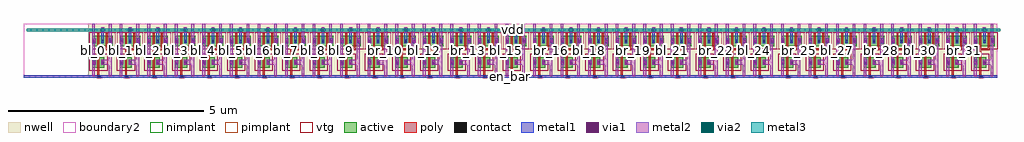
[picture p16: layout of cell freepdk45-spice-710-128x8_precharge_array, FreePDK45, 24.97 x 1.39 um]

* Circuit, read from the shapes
.subckt freepdk45-spice-710-128x8_precharge_array bl_0 bl_1 bl_10 bl_11 bl_12 bl_13 bl_14 bl_15 bl_16 bl_17 bl_18 bl_19 bl_2 bl_20 bl_21 bl_22 bl_23 bl_24 bl_25 bl_26 bl_27 bl_28 bl_29 bl_3 bl_30 bl_31 bl_32 bl_4 bl_5 bl_6 bl_7 bl_8 bl_9 br_0 br_1 br_10 br_11 br_12 br_13 br_14 br_15 br_16 br_17 br_18 br_19 br_2 br_20 br_21 br_22 br_23 br_24 br_25 br_26 br_27 br_28 br_29 br_3 br_30 br_31 br_32 br_4 br_5 br_6 br_7 br_8 br_9 en_bar vdd
M1 br_0 en_bar bl_0 vdd pfet w=0.27u l=0.05u
M2 vdd en_bar bl_0 vdd pfet w=0.27u l=0.05u
M3 br_0 en_bar vdd vdd pfet w=0.27u l=0.05u
M4 br_1 en_bar bl_1 vdd pfet w=0.27u l=0.05u
M5 vdd en_bar bl_1 vdd pfet w=0.27u l=0.05u
M6 br_1 en_bar vdd vdd pfet w=0.27u l=0.05u
M7 br_2 en_bar bl_2 vdd pfet w=0.27u l=0.05u
M8 vdd en_bar bl_2 vdd pfet w=0.27u l=0.05u
M9 br_2 en_bar vdd vdd pfet w=0.27u l=0.05u
M10 br_3 en_bar bl_3 vdd pfet w=0.27u l=0.05u
M11 vdd en_bar bl_3 vdd pfet w=0.27u l=0.05u
M12 br_3 en_bar vdd vdd pfet w=0.27u l=0.05u
M13 br_4 en_bar bl_4 vdd pfet w=0.27u l=0.05u
M14 vdd en_bar bl_4 vdd pfet w=0.27u l=0.05u
M15 br_4 en_bar vdd vdd pfet w=0.27u l=0.05u
M16 br_5 en_bar bl_5 vdd pfet w=0.27u l=0.05u
M17 vdd en_bar bl_5 vdd pfet w=0.27u l=0.05u
M18 br_5 en_bar vdd vdd pfet w=0.27u l=0.05u
M19 br_6 en_bar bl_6 vdd pfet w=0.27u l=0.05u
M20 vdd en_bar bl_6 vdd pfet w=0.27u l=0.05u
M21 br_6 en_bar vdd vdd pfet w=0.27u l=0.05u
M22 br_7 en_bar bl_7 vdd pfet w=0.27u l=0.05u
M23 vdd en_bar bl_7 vdd pfet w=0.27u l=0.05u
M24 br_7 en_bar vdd vdd pfet w=0.27u l=0.05u
M25 br_8 en_bar bl_8 vdd pfet w=0.27u l=0.05u
M26 vdd en_bar bl_8 vdd pfet w=0.27u l=0.05u
M27 br_8 en_bar vdd vdd pfet w=0.27u l=0.05u
M28 br_9 en_bar bl_9 vdd pfet w=0.27u l=0.05u
M29 vdd en_bar bl_9 vdd pfet w=0.27u l=0.05u
M30 br_9 en_bar vdd vdd pfet w=0.27u l=0.05u
M31 br_10 en_bar bl_10 vdd pfet w=0.27u l=0.05u
M32 vdd en_bar bl_10 vdd pfet w=0.27u l=0.05u
M33 br_10 en_bar vdd vdd pfet w=0.27u l=0.05u
M34 br_11 en_bar bl_11 vdd pfet w=0.27u l=0.05u
M35 vdd en_bar bl_11 vdd pfet w=0.27u l=0.05u
M36 br_11 en_bar vdd vdd pfet w=0.27u l=0.05u
M37 br_12 en_bar bl_12 vdd pfet w=0.27u l=0.05u
M38 vdd en_bar bl_12 vdd pfet w=0.27u l=0.05u
M39 br_12 en_bar vdd vdd pfet w=0.27u l=0.05u
M40 br_13 en_bar bl_13 vdd pfet w=0.27u l=0.05u
M41 vdd en_bar bl_13 vdd pfet w=0.27u l=0.05u
M42 br_13 en_bar vdd vdd pfet w=0.27u l=0.05u
M43 br_14 en_bar bl_14 vdd pfet w=0.27u l=0.05u
M44 vdd en_bar bl_14 vdd pfet w=0.27u l=0.05u
M45 br_14 en_bar vdd vdd pfet w=0.27u l=0.05u
M46 br_15 en_bar bl_15 vdd pfet w=0.27u l=0.05u
M47 vdd en_bar bl_15 vdd pfet w=0.27u l=0.05u
M48 br_15 en_bar vdd vdd pfet w=0.27u l=0.05u
M49 br_16 en_bar bl_16 vdd pfet w=0.27u l=0.05u
M50 vdd en_bar bl_16 vdd pfet w=0.27u l=0.05u
M51 br_16 en_bar vdd vdd pfet w=0.27u l=0.05u
M52 br_17 en_bar bl_17 vdd pfet w=0.27u l=0.05u
M53 vdd en_bar bl_17 vdd pfet w=0.27u l=0.05u
M54 br_17 en_bar vdd vdd pfet w=0.27u l=0.05u
M55 br_18 en_bar bl_18 vdd pfet w=0.27u l=0.05u
M56 vdd en_bar bl_18 vdd pfet w=0.27u l=0.05u
M57 br_18 en_bar vdd vdd pfet w=0.27u l=0.05u
M58 br_19 en_bar bl_19 vdd pfet w=0.27u l=0.05u
M59 vdd en_bar bl_19 vdd pfet w=0.27u l=0.05u
M60 br_19 en_bar vdd vdd pfet w=0.27u l=0.05u
M61 br_20 en_bar bl_20 vdd pfet w=0.27u l=0.05u
M62 vdd en_bar bl_20 vdd pfet w=0.27u l=0.05u
M63 br_20 en_bar vdd vdd pfet w=0.27u l=0.05u
M64 br_21 en_bar bl_21 vdd pfet w=0.27u l=0.05u
M65 vdd en_bar bl_21 vdd pfet w=0.27u l=0.05u
M66 br_21 en_bar vdd vdd pfet w=0.27u l=0.05u
M67 br_22 en_bar bl_22 vdd pfet w=0.27u l=0.05u
M68 vdd en_bar bl_22 vdd pfet w=0.27u l=0.05u
M69 br_22 en_bar vdd vdd pfet w=0.27u l=0.05u
M70 br_23 en_bar bl_23 vdd pfet w=0.27u l=0.05u
M71 vdd en_bar bl_23 vdd pfet w=0.27u l=0.05u
M72 br_23 en_bar vdd vdd pfet w=0.27u l=0.05u
M73 br_24 en_bar bl_24 vdd pfet w=0.27u l=0.05u
M74 vdd en_bar bl_24 vdd pfet w=0.27u l=0.05u
M75 br_24 en_bar vdd vdd pfet w=0.27u l=0.05u
M76 br_25 en_bar bl_25 vdd pfet w=0.27u l=0.05u
M77 vdd en_bar bl_25 vdd pfet w=0.27u l=0.05u
M78 br_25 en_bar vdd vdd pfet w=0.27u l=0.05u
M79 br_26 en_bar bl_26 vdd pfet w=0.27u l=0.05u
M80 vdd en_bar bl_26 vdd pfet w=0.27u l=0.05u
M81 br_26 en_bar vdd vdd pfet w=0.27u l=0.05u
M82 br_27 en_bar bl_27 vdd pfet w=0.27u l=0.05u
M83 vdd en_bar bl_27 vdd pfet w=0.27u l=0.05u
M84 br_27 en_bar vdd vdd pfet w=0.27u l=0.05u
M85 br_28 en_bar bl_28 vdd pfet w=0.27u l=0.05u
M86 vdd en_bar bl_28 vdd pfet w=0.27u l=0.05u
M87 br_28 en_bar vdd vdd pfet w=0.27u l=0.05u
M88 br_29 en_bar bl_29 vdd pfet w=0.27u l=0.05u
M89 vdd en_bar bl_29 vdd pfet w=0.27u l=0.05u
M90 br_29 en_bar vdd vdd pfet w=0.27u l=0.05u
M91 br_30 en_bar bl_30 vdd pfet w=0.27u l=0.05u
M92 vdd en_bar bl_30 vdd pfet w=0.27u l=0.05u
M93 br_30 en_bar vdd vdd pfet w=0.27u l=0.05u
M94 br_31 en_bar bl_31 vdd pfet w=0.27u l=0.05u
M95 vdd en_bar bl_31 vdd pfet w=0.27u l=0.05u
M96 br_31 en_bar vdd vdd pfet w=0.27u l=0.05u
M97 br_32 en_bar bl_32 vdd pfet w=0.27u l=0.05u
M98 vdd en_bar bl_32 vdd pfet w=0.27u l=0.05u
M99 br_32 en_bar vdd vdd pfet w=0.27u l=0.05u
.ends

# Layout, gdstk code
import gdstk
lib = gdstk.Library(unit=1e-6, precision=5e-10)
def R(c, l, rs):  # rectangles x0, y0, x1, y1
    for r in rs: c.add(gdstk.rectangle(r[:2], r[2:], *l))
active = (1, 0)
nwell = (3, 0)
nimplant = (4, 0)
pimplant = (5, 0)
vtg = (6, 0)
poly = (9, 0)
contact = (10, 0)
metal1 = (11, 0)
via1 = (12, 0)
metal2 = (13, 0)
via2 = (14, 0)
metal3 = (15, 0)
boundary2 = (239, 0)

freepdk45_spice_710_128x = lib.new_cell('freepdk45-spice-710-128x8_contact_11')
R(freepdk45_spice_710_128x, active, [(0,0.0225,0.09,0.1125)])
R(freepdk45_spice_710_128x, nwell, [(-0.055,-0.0325,0.145,0.1675)])
R(freepdk45_spice_710_128x, pimplant, [(0,0.0225,0.09,0.1125)])
R(freepdk45_spice_710_128x, contact, [(0.0125,0.035,0.0775,0.1)])
R(freepdk45_spice_710_128x, metal1, [(0.0125,0,0.0775,0.135)])
R(freepdk45_spice_710_128x, boundary2, [(-0.055,-0.0325,0.145,0.1675)])

c_freepdk45_spice_710_128x = lib.new_cell('freepdk45-spice-710-128x8_pmos_m1_w0_270_sm1_dm1')
R(c_freepdk45_spice_710_128x, active, [(0,0,0.305,0.27)])
R(c_freepdk45_spice_710_128x, nwell, [(-0.08,-0.08,0.385,0.35)])
R(c_freepdk45_spice_710_128x, pimplant, [(0,0,0.305,0.27)])
R(c_freepdk45_spice_710_128x, vtg, [(-0.08,-0.08,0.385,0.35)])
R(c_freepdk45_spice_710_128x, poly, [(0.1275,-0.055,0.1775,0.325), (0.1275,-0.055,0.1775,0.325)])
R(c_freepdk45_spice_710_128x, metal1, [(0.0125,0.0675,0.0775,0.2025), (0.2275,0.0675,0.2925,0.2025)])
R(c_freepdk45_spice_710_128x, boundary2, [(-0.08,-0.08,0.385,0.35)])
c_freepdk45_spice_710_128x.add(gdstk.Reference(freepdk45_spice_710_128x, (0,0.0675)))
c_freepdk45_spice_710_128x.add(gdstk.Reference(freepdk45_spice_710_128x, (0.215,0.0675)))
c_freepdk45_spice_710_128x.add(gdstk.Label('G', (0.1525,0.135), layer=9, texttype=0))
c_freepdk45_spice_710_128x.add(gdstk.Label('S', (0.045,0.135), layer=11, texttype=0))
c_freepdk45_spice_710_128x.add(gdstk.Label('D', (0.26,0.135), layer=11, texttype=0))

c_freepdk45_spice_710_128x_ = lib.new_cell('freepdk45-spice-710-128x8_contact_14')
R(c_freepdk45_spice_710_128x_, poly, [(0.03,0,0.105,0.075)])
R(c_freepdk45_spice_710_128x_, contact, [(0.035,0.005,0.1,0.07)])
R(c_freepdk45_spice_710_128x_, metal1, [(0,0.005,0.135,0.07)])
R(c_freepdk45_spice_710_128x_, boundary2, [(0,0,0.135,0.075)])

c_freepdk45_spice_710_128x__ = lib.new_cell('freepdk45-spice-710-128x8_contact_22')
R(c_freepdk45_spice_710_128x__, active, [(0.0225,0,0.1125,0.09)])
R(c_freepdk45_spice_710_128x__, nwell, [(-0.0325,-0.055,0.1675,0.145)])
R(c_freepdk45_spice_710_128x__, nimplant, [(0.0225,0,0.1125,0.09)])
R(c_freepdk45_spice_710_128x__, contact, [(0.035,0.0125,0.1,0.0775)])
R(c_freepdk45_spice_710_128x__, metal1, [(0,0.0125,0.135,0.0775)])
R(c_freepdk45_spice_710_128x__, boundary2, [(-0.0325,-0.055,0.1675,0.145)])

c_freepdk45_spice_710_128x___ = lib.new_cell('freepdk45-spice-710-128x8_contact_17')
R(c_freepdk45_spice_710_128x___, metal1, [(0,0.035,0.135,0.1)])
R(c_freepdk45_spice_710_128x___, via1, [(0.035,0.035,0.1,0.1)])
R(c_freepdk45_spice_710_128x___, metal2, [(0.0325,0,0.1025,0.135)])
R(c_freepdk45_spice_710_128x___, boundary2, [(0,0,0.135,0.135)])

c_freepdk45_spice_710_128x____ = lib.new_cell('freepdk45-spice-710-128x8_contact_23')
R(c_freepdk45_spice_710_128x____, metal1, [(0.0025,0,0.0675,0.135)])
R(c_freepdk45_spice_710_128x____, via1, [(0.0025,0.035,0.0675,0.1)])
R(c_freepdk45_spice_710_128x____, metal2, [(0,0,0.07,0.135)])
R(c_freepdk45_spice_710_128x____, boundary2, [(0,0,0.07,0.135)])

c_freepdk45_spice_710_128x_____ = lib.new_cell('freepdk45-spice-710-128x8_precharge_0')
R(c_freepdk45_spice_710_128x_____, nwell, [(0,0,0.705,1.34)])
R(c_freepdk45_spice_710_128x_____, poly, [(0.24,-0.0375,0.29,0.0125), (0.265,-0.0375,0.29,0.0125), (0.24,-0.0125,0.29,0.165), (0.24,0.545,0.29,0.715), (0.24,0.665,0.505,0.715)])
R(c_freepdk45_spice_710_128x_____, metal1, [(0,-0.045,0.705,0.02), (0.34,0.905,0.405,1.185), (0.34,1.1525,0.405,1.2175)])
R(c_freepdk45_spice_710_128x_____, metal2, [(0.105,0,0.175,1.34), (0.105,0,0.175,1.34), (0.53,0,0.6,1.34), (0.53,0,0.6,1.34), (0.14,0.2875,0.1575,0.4225), (0.3725,0.2875,0.565,0.4225), (0.14,0.8375,0.1575,0.9725), (0.565,0.8375,0.5875,0.9725)])
R(c_freepdk45_spice_710_128x_____, boundary2, [(0,0,0.705,1.34)])
c_freepdk45_spice_710_128x_____.add(gdstk.Reference(c_freepdk45_spice_710_128x, (0.1125,0.22)))
c_freepdk45_spice_710_128x_____.add(gdstk.Reference(c_freepdk45_spice_710_128x, (0.1125,0.77)))
c_freepdk45_spice_710_128x_____.add(gdstk.Reference(c_freepdk45_spice_710_128x, (0.3275,0.77)))
c_freepdk45_spice_710_128x_____.add(gdstk.Reference(c_freepdk45_spice_710_128x_, (0.2225,-0.05)))
c_freepdk45_spice_710_128x_____.add(gdstk.Reference(c_freepdk45_spice_710_128x__, (0.305,1.14)))
c_freepdk45_spice_710_128x_____.add(gdstk.Reference(c_freepdk45_spice_710_128x___, (0.305,1.1175)))
c_freepdk45_spice_710_128x_____.add(gdstk.Reference(c_freepdk45_spice_710_128x____, (0.1225,0.2875)))
c_freepdk45_spice_710_128x_____.add(gdstk.Reference(c_freepdk45_spice_710_128x____, (0.3375,0.2875)))
c_freepdk45_spice_710_128x_____.add(gdstk.Reference(c_freepdk45_spice_710_128x____, (0.1225,0.8375)))
c_freepdk45_spice_710_128x_____.add(gdstk.Reference(c_freepdk45_spice_710_128x____, (0.5525,0.8375)))
c_freepdk45_spice_710_128x_____.add(gdstk.Label('en_bar', (0.3525,-0.0125), layer=11, texttype=0))
c_freepdk45_spice_710_128x_____.add(gdstk.Label('vdd', (0.3725,1.185), layer=11, texttype=0))
c_freepdk45_spice_710_128x_____.add(gdstk.Label('bl', (0.14,0.67), layer=13, texttype=0))
c_freepdk45_spice_710_128x_____.add(gdstk.Label('br', (0.565,0.67), layer=13, texttype=0))

c_freepdk45_spice_710_128x______ = lib.new_cell('freepdk45-spice-710-128x8_contact_18')
R(c_freepdk45_spice_710_128x______, metal2, [(0.0325,0,0.1025,0.135)])
R(c_freepdk45_spice_710_128x______, via2, [(0.035,0.035,0.1,0.1)])
R(c_freepdk45_spice_710_128x______, metal3, [(0,0.0325,0.135,0.1025)])
R(c_freepdk45_spice_710_128x______, boundary2, [(0,0,0.135,0.135)])

c_freepdk45_spice_710_128x_______ = lib.new_cell('freepdk45-spice-710-128x8_precharge_array')
R(c_freepdk45_spice_710_128x_______, metal1, [(0,-0.045,24.905,0.02), (1.96,-0.045,2.025,0.02), (1.96,-0.045,2.025,0.02), (2.665,-0.045,2.73,0.02), (2.665,-0.045,2.73,0.02), (3.37,-0.045,3.435,0.02), (3.37,-0.045,3.435,0.02), (4.075,-0.045,4.14,0.02), (4.075,-0.045,4.14,0.02), (4.78,-0.045,4.845,0.02), (4.78,-0.045,4.845,0.02), (5.485,-0.045,5.55,0.02), (5.485,-0.045,5.55,0.02), (6.19,-0.045,6.255,0.02), (6.19,-0.045,6.255,0.02), (6.895,-0.045,6.96,0.02), (6.895,-0.045,6.96,0.02), (7.6,-0.045,7.665,0.02), (7.6,-0.045,7.665,0.02), (8.305,-0.045,8.37,0.02), (8.305,-0.045,8.37,0.02), (9.01,-0.045,9.075,0.02), (9.01,-0.045,9.075,0.02), (9.715,-0.045,9.78,0.02), (9.715,-0.045,9.78,0.02), (10.42,-0.045,10.485,0.02), (10.42,-0.045,10.485,0.02), (11.125,-0.045,11.19,0.02), (11.125,-0.045,11.19,0.02), (11.83,-0.045,11.895,0.02), (11.83,-0.045,11.895,0.02), (12.535,-0.045,12.6,0.02), (12.535,-0.045,12.6,0.02), (13.24,-0.045,13.305,0.02), (13.24,-0.045,13.305,0.02), (13.945,-0.045,14.01,0.02), (13.945,-0.045,14.01,0.02), (14.65,-0.045,14.715,0.02), (14.65,-0.045,14.715,0.02), (15.355,-0.045,15.42,0.02), (15.355,-0.045,15.42,0.02), (16.06,-0.045,16.125,0.02), (16.06,-0.045,16.125,0.02), (16.765,-0.045,16.83,0.02), (16.765,-0.045,16.83,0.02), (17.47,-0.045,17.535,0.02), (17.47,-0.045,17.535,0.02), (18.175,-0.045,18.24,0.02), (18.175,-0.045,18.24,0.02), (18.88,-0.045,18.945,0.02), (18.88,-0.045,18.945,0.02), (19.585,-0.045,19.65,0.02), (19.585,-0.045,19.65,0.02), (20.29,-0.045,20.355,0.02), (20.29,-0.045,20.355,0.02), (20.995,-0.045,21.06,0.02), (20.995,-0.045,21.06,0.02), (21.7,-0.045,21.765,0.02), (21.7,-0.045,21.765,0.02), (22.405,-0.045,22.47,0.02), (22.405,-0.045,22.47,0.02), (23.11,-0.045,23.175,0.02), (23.11,-0.045,23.175,0.02), (23.815,-0.045,23.88,0.02), (23.815,-0.045,23.88,0.02), (24.52,-0.045,24.585,0.02), (24.52,-0.045,24.585,0.02)])
R(c_freepdk45_spice_710_128x_______, metal2, [(1.745,0,1.815,1.34), (2.17,0,2.24,1.34), (2.45,0,2.52,1.34), (2.875,0,2.945,1.34), (3.155,0,3.225,1.34), (3.58,0,3.65,1.34), (3.86,0,3.93,1.34), (4.285,0,4.355,1.34), (4.565,0,4.635,1.34), (4.99,0,5.06,1.34), (5.27,0,5.34,1.34), (5.695,0,5.765,1.34), (5.975,0,6.045,1.34), (6.4,0,6.47,1.34), (6.68,0,6.75,1.34), (7.105,0,7.175,1.34), (7.385,0,7.455,1.34), (7.81,0,7.88,1.34), (8.09,0,8.16,1.34), (8.515,0,8.585,1.34), (8.795,0,8.865,1.34), (9.22,0,9.29,1.34), (9.5,0,9.57,1.34), (9.925,0,9.995,1.34), (10.205,0,10.275,1.34), (10.63,0,10.7,1.34), (10.91,0,10.98,1.34), (11.335,0,11.405,1.34), (11.615,0,11.685,1.34), (12.04,0,12.11,1.34), (12.32,0,12.39,1.34), (12.745,0,12.815,1.34), (13.025,0,13.095,1.34), (13.45,0,13.52,1.34), (13.73,0,13.8,1.34), (14.155,0,14.225,1.34), (14.435,0,14.505,1.34), (14.86,0,14.93,1.34), (15.14,0,15.21,1.34), (15.565,0,15.635,1.34), (15.845,0,15.915,1.34), (16.27,0,16.34,1.34), (16.55,0,16.62,1.34), (16.975,0,17.045,1.34), (17.255,0,17.325,1.34), (17.68,0,17.75,1.34), (17.96,0,18.03,1.34), (18.385,0,18.455,1.34), (18.665,0,18.735,1.34), (19.09,0,19.16,1.34), (19.37,0,19.44,1.34), (19.795,0,19.865,1.34), (20.075,0,20.145,1.34), (20.5,0,20.57,1.34), (20.78,0,20.85,1.34), (21.205,0,21.275,1.34), (21.485,0,21.555,1.34), (21.91,0,21.98,1.34), (22.19,0,22.26,1.34), (22.615,0,22.685,1.34), (22.895,0,22.965,1.34), (23.32,0,23.39,1.34), (23.6,0,23.67,1.34), (24.025,0,24.095,1.34), (24.305,0,24.375,1.34), (24.73,0,24.8,1.34)])
R(c_freepdk45_spice_710_128x_______, metal3, [(0.0675,1.15,24.9725,1.22)])
R(c_freepdk45_spice_710_128x_______, boundary2, [(0,0,24.905,1.34)])
c_freepdk45_spice_710_128x_______.add(gdstk.Reference(c_freepdk45_spice_710_128x_____, (1.64,0)))
c_freepdk45_spice_710_128x_______.add(gdstk.Reference(c_freepdk45_spice_710_128x_____, (2.345,0)))
c_freepdk45_spice_710_128x_______.add(gdstk.Reference(c_freepdk45_spice_710_128x_____, (3.05,0)))
c_freepdk45_spice_710_128x_______.add(gdstk.Reference(c_freepdk45_spice_710_128x_____, (3.755,0)))
c_freepdk45_spice_710_128x_______.add(gdstk.Reference(c_freepdk45_spice_710_128x_____, (4.46,0)))
c_freepdk45_spice_710_128x_______.add(gdstk.Reference(c_freepdk45_spice_710_128x_____, (5.165,0)))
c_freepdk45_spice_710_128x_______.add(gdstk.Reference(c_freepdk45_spice_710_128x_____, (5.87,0)))
c_freepdk45_spice_710_128x_______.add(gdstk.Reference(c_freepdk45_spice_710_128x_____, (6.575,0)))
c_freepdk45_spice_710_128x_______.add(gdstk.Reference(c_freepdk45_spice_710_128x_____, (7.28,0)))
c_freepdk45_spice_710_128x_______.add(gdstk.Reference(c_freepdk45_spice_710_128x_____, (7.985,0)))
c_freepdk45_spice_710_128x_______.add(gdstk.Reference(c_freepdk45_spice_710_128x_____, (8.69,0)))
c_freepdk45_spice_710_128x_______.add(gdstk.Reference(c_freepdk45_spice_710_128x_____, (9.395,0)))
c_freepdk45_spice_710_128x_______.add(gdstk.Reference(c_freepdk45_spice_710_128x_____, (10.1,0)))
c_freepdk45_spice_710_128x_______.add(gdstk.Reference(c_freepdk45_spice_710_128x_____, (10.805,0)))
c_freepdk45_spice_710_128x_______.add(gdstk.Reference(c_freepdk45_spice_710_128x_____, (11.51,0)))
c_freepdk45_spice_710_128x_______.add(gdstk.Reference(c_freepdk45_spice_710_128x_____, (12.215,0)))
c_freepdk45_spice_710_128x_______.add(gdstk.Reference(c_freepdk45_spice_710_128x_____, (12.92,0)))
c_freepdk45_spice_710_128x_______.add(gdstk.Reference(c_freepdk45_spice_710_128x_____, (13.625,0)))
c_freepdk45_spice_710_128x_______.add(gdstk.Reference(c_freepdk45_spice_710_128x_____, (14.33,0)))
c_freepdk45_spice_710_128x_______.add(gdstk.Reference(c_freepdk45_spice_710_128x_____, (15.035,0)))
c_freepdk45_spice_710_128x_______.add(gdstk.Reference(c_freepdk45_spice_710_128x_____, (15.74,0)))
c_freepdk45_spice_710_128x_______.add(gdstk.Reference(c_freepdk45_spice_710_128x_____, (16.445,0)))
c_freepdk45_spice_710_128x_______.add(gdstk.Reference(c_freepdk45_spice_710_128x_____, (17.15,0)))
c_freepdk45_spice_710_128x_______.add(gdstk.Reference(c_freepdk45_spice_710_128x_____, (17.855,0)))
c_freepdk45_spice_710_128x_______.add(gdstk.Reference(c_freepdk45_spice_710_128x_____, (18.56,0)))
c_freepdk45_spice_710_128x_______.add(gdstk.Reference(c_freepdk45_spice_710_128x_____, (19.265,0)))
c_freepdk45_spice_710_128x_______.add(gdstk.Reference(c_freepdk45_spice_710_128x_____, (19.97,0)))
c_freepdk45_spice_710_128x_______.add(gdstk.Reference(c_freepdk45_spice_710_128x_____, (20.675,0)))
c_freepdk45_spice_710_128x_______.add(gdstk.Reference(c_freepdk45_spice_710_128x_____, (21.38,0)))
c_freepdk45_spice_710_128x_______.add(gdstk.Reference(c_freepdk45_spice_710_128x_____, (22.085,0)))
c_freepdk45_spice_710_128x_______.add(gdstk.Reference(c_freepdk45_spice_710_128x_____, (22.79,0)))
c_freepdk45_spice_710_128x_______.add(gdstk.Reference(c_freepdk45_spice_710_128x_____, (23.495,0)))
c_freepdk45_spice_710_128x_______.add(gdstk.Reference(c_freepdk45_spice_710_128x_____, (24.2,0)))
c_freepdk45_spice_710_128x_______.add(gdstk.Reference(c_freepdk45_spice_710_128x___, (1.945,1.1175)))
c_freepdk45_spice_710_128x_______.add(gdstk.Reference(c_freepdk45_spice_710_128x______, (1.945,1.1175)))
c_freepdk45_spice_710_128x_______.add(gdstk.Reference(c_freepdk45_spice_710_128x___, (2.65,1.1175)))
c_freepdk45_spice_710_128x_______.add(gdstk.Reference(c_freepdk45_spice_710_128x______, (2.65,1.1175)))
c_freepdk45_spice_710_128x_______.add(gdstk.Reference(c_freepdk45_spice_710_128x___, (3.355,1.1175)))
c_freepdk45_spice_710_128x_______.add(gdstk.Reference(c_freepdk45_spice_710_128x______, (3.355,1.1175)))
c_freepdk45_spice_710_128x_______.add(gdstk.Reference(c_freepdk45_spice_710_128x___, (4.06,1.1175)))
c_freepdk45_spice_710_128x_______.add(gdstk.Reference(c_freepdk45_spice_710_128x______, (4.06,1.1175)))
c_freepdk45_spice_710_128x_______.add(gdstk.Reference(c_freepdk45_spice_710_128x___, (4.765,1.1175)))
c_freepdk45_spice_710_128x_______.add(gdstk.Reference(c_freepdk45_spice_710_128x______, (4.765,1.1175)))
c_freepdk45_spice_710_128x_______.add(gdstk.Reference(c_freepdk45_spice_710_128x___, (5.47,1.1175)))
c_freepdk45_spice_710_128x_______.add(gdstk.Reference(c_freepdk45_spice_710_128x______, (5.47,1.1175)))
c_freepdk45_spice_710_128x_______.add(gdstk.Reference(c_freepdk45_spice_710_128x___, (6.175,1.1175)))
c_freepdk45_spice_710_128x_______.add(gdstk.Reference(c_freepdk45_spice_710_128x______, (6.175,1.1175)))
c_freepdk45_spice_710_128x_______.add(gdstk.Reference(c_freepdk45_spice_710_128x___, (6.88,1.1175)))
c_freepdk45_spice_710_128x_______.add(gdstk.Reference(c_freepdk45_spice_710_128x______, (6.88,1.1175)))
c_freepdk45_spice_710_128x_______.add(gdstk.Reference(c_freepdk45_spice_710_128x___, (7.585,1.1175)))
c_freepdk45_spice_710_128x_______.add(gdstk.Reference(c_freepdk45_spice_710_128x______, (7.585,1.1175)))
c_freepdk45_spice_710_128x_______.add(gdstk.Reference(c_freepdk45_spice_710_128x___, (8.29,1.1175)))
c_freepdk45_spice_710_128x_______.add(gdstk.Reference(c_freepdk45_spice_710_128x______, (8.29,1.1175)))
c_freepdk45_spice_710_128x_______.add(gdstk.Reference(c_freepdk45_spice_710_128x___, (8.995,1.1175)))
c_freepdk45_spice_710_128x_______.add(gdstk.Reference(c_freepdk45_spice_710_128x______, (8.995,1.1175)))
c_freepdk45_spice_710_128x_______.add(gdstk.Reference(c_freepdk45_spice_710_128x___, (9.7,1.1175)))
c_freepdk45_spice_710_128x_______.add(gdstk.Reference(c_freepdk45_spice_710_128x______, (9.7,1.1175)))
c_freepdk45_spice_710_128x_______.add(gdstk.Reference(c_freepdk45_spice_710_128x___, (10.405,1.1175)))
c_freepdk45_spice_710_128x_______.add(gdstk.Reference(c_freepdk45_spice_710_128x______, (10.405,1.1175)))
c_freepdk45_spice_710_128x_______.add(gdstk.Reference(c_freepdk45_spice_710_128x___, (11.11,1.1175)))
c_freepdk45_spice_710_128x_______.add(gdstk.Reference(c_freepdk45_spice_710_128x______, (11.11,1.1175)))
c_freepdk45_spice_710_128x_______.add(gdstk.Reference(c_freepdk45_spice_710_128x___, (11.815,1.1175)))
c_freepdk45_spice_710_128x_______.add(gdstk.Reference(c_freepdk45_spice_710_128x______, (11.815,1.1175)))
c_freepdk45_spice_710_128x_______.add(gdstk.Reference(c_freepdk45_spice_710_128x___, (12.52,1.1175)))
c_freepdk45_spice_710_128x_______.add(gdstk.Reference(c_freepdk45_spice_710_128x______, (12.52,1.1175)))
c_freepdk45_spice_710_128x_______.add(gdstk.Reference(c_freepdk45_spice_710_128x___, (13.225,1.1175)))
c_freepdk45_spice_710_128x_______.add(gdstk.Reference(c_freepdk45_spice_710_128x______, (13.225,1.1175)))
c_freepdk45_spice_710_128x_______.add(gdstk.Reference(c_freepdk45_spice_710_128x___, (13.93,1.1175)))
c_freepdk45_spice_710_128x_______.add(gdstk.Reference(c_freepdk45_spice_710_128x______, (13.93,1.1175)))
c_freepdk45_spice_710_128x_______.add(gdstk.Reference(c_freepdk45_spice_710_128x___, (14.635,1.1175)))
c_freepdk45_spice_710_128x_______.add(gdstk.Reference(c_freepdk45_spice_710_128x______, (14.635,1.1175)))
c_freepdk45_spice_710_128x_______.add(gdstk.Reference(c_freepdk45_spice_710_128x___, (15.34,1.1175)))
c_freepdk45_spice_710_128x_______.add(gdstk.Reference(c_freepdk45_spice_710_128x______, (15.34,1.1175)))
c_freepdk45_spice_710_128x_______.add(gdstk.Reference(c_freepdk45_spice_710_128x___, (16.045,1.1175)))
c_freepdk45_spice_710_128x_______.add(gdstk.Reference(c_freepdk45_spice_710_128x______, (16.045,1.1175)))
c_freepdk45_spice_710_128x_______.add(gdstk.Reference(c_freepdk45_spice_710_128x___, (16.75,1.1175)))
c_freepdk45_spice_710_128x_______.add(gdstk.Reference(c_freepdk45_spice_710_128x______, (16.75,1.1175)))
c_freepdk45_spice_710_128x_______.add(gdstk.Reference(c_freepdk45_spice_710_128x___, (17.455,1.1175)))
c_freepdk45_spice_710_128x_______.add(gdstk.Reference(c_freepdk45_spice_710_128x______, (17.455,1.1175)))
c_freepdk45_spice_710_128x_______.add(gdstk.Reference(c_freepdk45_spice_710_128x___, (18.16,1.1175)))
c_freepdk45_spice_710_128x_______.add(gdstk.Reference(c_freepdk45_spice_710_128x______, (18.16,1.1175)))
c_freepdk45_spice_710_128x_______.add(gdstk.Reference(c_freepdk45_spice_710_128x___, (18.865,1.1175)))
c_freepdk45_spice_710_128x_______.add(gdstk.Reference(c_freepdk45_spice_710_128x______, (18.865,1.1175)))
c_freepdk45_spice_710_128x_______.add(gdstk.Reference(c_freepdk45_spice_710_128x___, (19.57,1.1175)))
c_freepdk45_spice_710_128x_______.add(gdstk.Reference(c_freepdk45_spice_710_128x______, (19.57,1.1175)))
c_freepdk45_spice_710_128x_______.add(gdstk.Reference(c_freepdk45_spice_710_128x___, (20.275,1.1175)))
c_freepdk45_spice_710_128x_______.add(gdstk.Reference(c_freepdk45_spice_710_128x______, (20.275,1.1175)))
c_freepdk45_spice_710_128x_______.add(gdstk.Reference(c_freepdk45_spice_710_128x___, (20.98,1.1175)))
c_freepdk45_spice_710_128x_______.add(gdstk.Reference(c_freepdk45_spice_710_128x______, (20.98,1.1175)))
c_freepdk45_spice_710_128x_______.add(gdstk.Reference(c_freepdk45_spice_710_128x___, (21.685,1.1175)))
c_freepdk45_spice_710_128x_______.add(gdstk.Reference(c_freepdk45_spice_710_128x______, (21.685,1.1175)))
c_freepdk45_spice_710_128x_______.add(gdstk.Reference(c_freepdk45_spice_710_128x___, (22.39,1.1175)))
c_freepdk45_spice_710_128x_______.add(gdstk.Reference(c_freepdk45_spice_710_128x______, (22.39,1.1175)))
c_freepdk45_spice_710_128x_______.add(gdstk.Reference(c_freepdk45_spice_710_128x___, (23.095,1.1175)))
c_freepdk45_spice_710_128x_______.add(gdstk.Reference(c_freepdk45_spice_710_128x______, (23.095,1.1175)))
c_freepdk45_spice_710_128x_______.add(gdstk.Reference(c_freepdk45_spice_710_128x___, (23.8,1.1175)))
c_freepdk45_spice_710_128x_______.add(gdstk.Reference(c_freepdk45_spice_710_128x______, (23.8,1.1175)))
c_freepdk45_spice_710_128x_______.add(gdstk.Reference(c_freepdk45_spice_710_128x___, (24.505,1.1175)))
c_freepdk45_spice_710_128x_______.add(gdstk.Reference(c_freepdk45_spice_710_128x______, (24.505,1.1175)))
c_freepdk45_spice_710_128x_______.add(gdstk.Label('en_bar', (12.4525,-0.0125), layer=11, texttype=0))
c_freepdk45_spice_710_128x_______.add(gdstk.Label('bl_0', (1.78,0.67), layer=13, texttype=0))
c_freepdk45_spice_710_128x_______.add(gdstk.Label('br_0', (2.205,0.67), layer=13, texttype=0))
c_freepdk45_spice_710_128x_______.add(gdstk.Label('bl_1', (2.485,0.67), layer=13, texttype=0))
c_freepdk45_spice_710_128x_______.add(gdstk.Label('br_1', (2.91,0.67), layer=13, texttype=0))
c_freepdk45_spice_710_128x_______.add(gdstk.Label('bl_2', (3.19,0.67), layer=13, texttype=0))
c_freepdk45_spice_710_128x_______.add(gdstk.Label('br_2', (3.615,0.67), layer=13, texttype=0))
c_freepdk45_spice_710_128x_______.add(gdstk.Label('bl_3', (3.895,0.67), layer=13, texttype=0))
c_freepdk45_spice_710_128x_______.add(gdstk.Label('br_3', (4.32,0.67), layer=13, texttype=0))
c_freepdk45_spice_710_128x_______.add(gdstk.Label('bl_4', (4.6,0.67), layer=13, texttype=0))
c_freepdk45_spice_710_128x_______.add(gdstk.Label('br_4', (5.025,0.67), layer=13, texttype=0))
c_freepdk45_spice_710_128x_______.add(gdstk.Label('bl_5', (5.305,0.67), layer=13, texttype=0))
c_freepdk45_spice_710_128x_______.add(gdstk.Label('br_5', (5.73,0.67), layer=13, texttype=0))
c_freepdk45_spice_710_128x_______.add(gdstk.Label('bl_6', (6.01,0.67), layer=13, texttype=0))
c_freepdk45_spice_710_128x_______.add(gdstk.Label('br_6', (6.435,0.67), layer=13, texttype=0))
c_freepdk45_spice_710_128x_______.add(gdstk.Label('bl_7', (6.715,0.67), layer=13, texttype=0))
c_freepdk45_spice_710_128x_______.add(gdstk.Label('br_7', (7.14,0.67), layer=13, texttype=0))
c_freepdk45_spice_710_128x_______.add(gdstk.Label('bl_8', (7.42,0.67), layer=13, texttype=0))
c_freepdk45_spice_710_128x_______.add(gdstk.Label('br_8', (7.845,0.67), layer=13, texttype=0))
c_freepdk45_spice_710_128x_______.add(gdstk.Label('bl_9', (8.125,0.67), layer=13, texttype=0))
c_freepdk45_spice_710_128x_______.add(gdstk.Label('br_9', (8.55,0.67), layer=13, texttype=0))
c_freepdk45_spice_710_128x_______.add(gdstk.Label('bl_10', (8.83,0.67), layer=13, texttype=0))
c_freepdk45_spice_710_128x_______.add(gdstk.Label('br_10', (9.255,0.67), layer=13, texttype=0))
c_freepdk45_spice_710_128x_______.add(gdstk.Label('bl_11', (9.535,0.67), layer=13, texttype=0))
c_freepdk45_spice_710_128x_______.add(gdstk.Label('br_11', (9.96,0.67), layer=13, texttype=0))
c_freepdk45_spice_710_128x_______.add(gdstk.Label('bl_12', (10.24,0.67), layer=13, texttype=0))
c_freepdk45_spice_710_128x_______.add(gdstk.Label('br_12', (10.665,0.67), layer=13, texttype=0))
c_freepdk45_spice_710_128x_______.add(gdstk.Label('bl_13', (10.945,0.67), layer=13, texttype=0))
c_freepdk45_spice_710_128x_______.add(gdstk.Label('br_13', (11.37,0.67), layer=13, texttype=0))
c_freepdk45_spice_710_128x_______.add(gdstk.Label('bl_14', (11.65,0.67), layer=13, texttype=0))
c_freepdk45_spice_710_128x_______.add(gdstk.Label('br_14', (12.075,0.67), layer=13, texttype=0))
c_freepdk45_spice_710_128x_______.add(gdstk.Label('bl_15', (12.355,0.67), layer=13, texttype=0))
c_freepdk45_spice_710_128x_______.add(gdstk.Label('br_15', (12.78,0.67), layer=13, texttype=0))
c_freepdk45_spice_710_128x_______.add(gdstk.Label('bl_16', (13.06,0.67), layer=13, texttype=0))
c_freepdk45_spice_710_128x_______.add(gdstk.Label('br_16', (13.485,0.67), layer=13, texttype=0))
c_freepdk45_spice_710_128x_______.add(gdstk.Label('bl_17', (13.765,0.67), layer=13, texttype=0))
c_freepdk45_spice_710_128x_______.add(gdstk.Label('br_17', (14.19,0.67), layer=13, texttype=0))
c_freepdk45_spice_710_128x_______.add(gdstk.Label('bl_18', (14.47,0.67), layer=13, texttype=0))
c_freepdk45_spice_710_128x_______.add(gdstk.Label('br_18', (14.895,0.67), layer=13, texttype=0))
c_freepdk45_spice_710_128x_______.add(gdstk.Label('bl_19', (15.175,0.67), layer=13, texttype=0))
c_freepdk45_spice_710_128x_______.add(gdstk.Label('br_19', (15.6,0.67), layer=13, texttype=0))
c_freepdk45_spice_710_128x_______.add(gdstk.Label('bl_20', (15.88,0.67), layer=13, texttype=0))
c_freepdk45_spice_710_128x_______.add(gdstk.Label('br_20', (16.305,0.67), layer=13, texttype=0))
c_freepdk45_spice_710_128x_______.add(gdstk.Label('bl_21', (16.585,0.67), layer=13, texttype=0))
c_freepdk45_spice_710_128x_______.add(gdstk.Label('br_21', (17.01,0.67), layer=13, texttype=0))
c_freepdk45_spice_710_128x_______.add(gdstk.Label('bl_22', (17.29,0.67), layer=13, texttype=0))
c_freepdk45_spice_710_128x_______.add(gdstk.Label('br_22', (17.715,0.67), layer=13, texttype=0))
c_freepdk45_spice_710_128x_______.add(gdstk.Label('bl_23', (17.995,0.67), layer=13, texttype=0))
c_freepdk45_spice_710_128x_______.add(gdstk.Label('br_23', (18.42,0.67), layer=13, texttype=0))
c_freepdk45_spice_710_128x_______.add(gdstk.Label('bl_24', (18.7,0.67), layer=13, texttype=0))
c_freepdk45_spice_710_128x_______.add(gdstk.Label('br_24', (19.125,0.67), layer=13, texttype=0))
c_freepdk45_spice_710_128x_______.add(gdstk.Label('bl_25', (19.405,0.67), layer=13, texttype=0))
c_freepdk45_spice_710_128x_______.add(gdstk.Label('br_25', (19.83,0.67), layer=13, texttype=0))
c_freepdk45_spice_710_128x_______.add(gdstk.Label('bl_26', (20.11,0.67), layer=13, texttype=0))
c_freepdk45_spice_710_128x_______.add(gdstk.Label('br_26', (20.535,0.67), layer=13, texttype=0))
c_freepdk45_spice_710_128x_______.add(gdstk.Label('bl_27', (20.815,0.67), layer=13, texttype=0))
c_freepdk45_spice_710_128x_______.add(gdstk.Label('br_27', (21.24,0.67), layer=13, texttype=0))
c_freepdk45_spice_710_128x_______.add(gdstk.Label('bl_28', (21.52,0.67), layer=13, texttype=0))
c_freepdk45_spice_710_128x_______.add(gdstk.Label('br_28', (21.945,0.67), layer=13, texttype=0))
c_freepdk45_spice_710_128x_______.add(gdstk.Label('bl_29', (22.225,0.67), layer=13, texttype=0))
c_freepdk45_spice_710_128x_______.add(gdstk.Label('br_29', (22.65,0.67), layer=13, texttype=0))
c_freepdk45_spice_710_128x_______.add(gdstk.Label('bl_30', (22.93,0.67), layer=13, texttype=0))
c_freepdk45_spice_710_128x_______.add(gdstk.Label('br_30', (23.355,0.67), layer=13, texttype=0))
c_freepdk45_spice_710_128x_______.add(gdstk.Label('bl_31', (23.635,0.67), layer=13, texttype=0))
c_freepdk45_spice_710_128x_______.add(gdstk.Label('br_31', (24.06,0.67), layer=13, texttype=0))
c_freepdk45_spice_710_128x_______.add(gdstk.Label('bl_32', (24.34,0.67), layer=13, texttype=0))
c_freepdk45_spice_710_128x_______.add(gdstk.Label('br_32', (24.765,0.67), layer=13, texttype=0))
c_freepdk45_spice_710_128x_______.add(gdstk.Label('vdd', (12.52,1.185), layer=15, texttype=0))

lib.write_gds('freepdk45-spice-710-128x8_precharge_array.gds')
